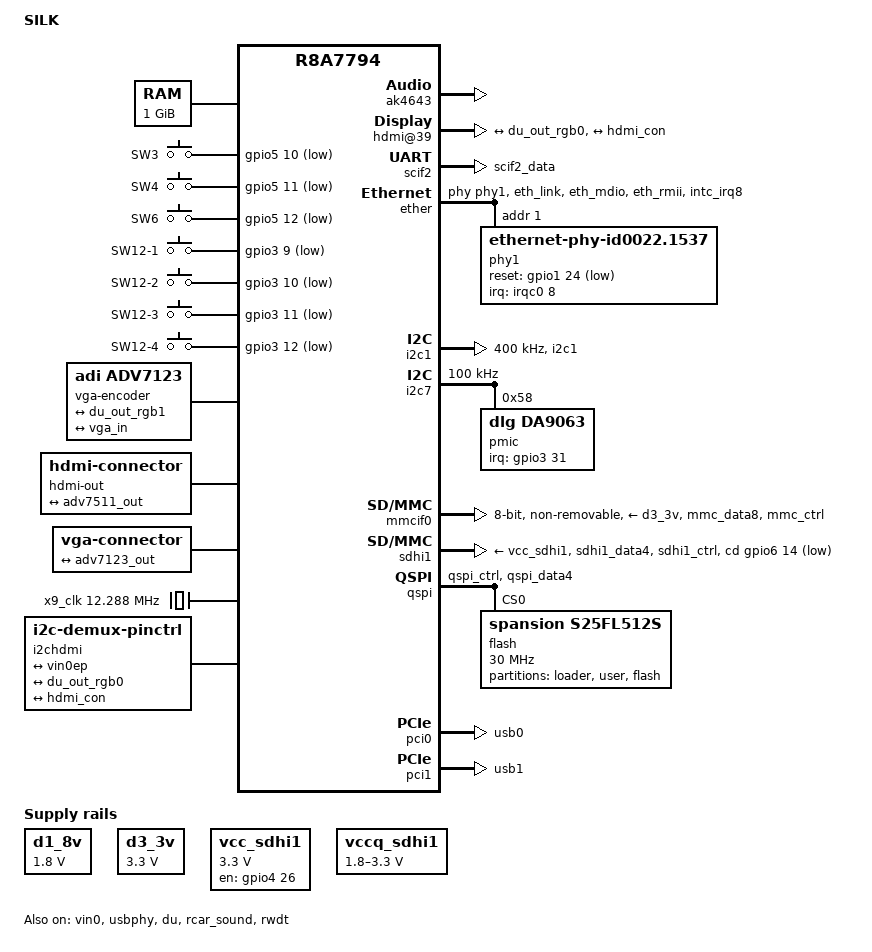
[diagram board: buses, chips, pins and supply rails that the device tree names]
// SPDX-License-Identifier: GPL-2.0
/*
 * Device Tree Source for the SILK board
 *
 * Copyright (C) 2014 Renesas Electronics Corporation
 * Copyright (C) 2014-2015 Renesas Solutions Corp.
 * Copyright (C) 2014-2015 Cogent Embedded, Inc.
 */

/*
 * SSI-AK4643
 *
 * SW1: 2-1: AK4643
 *      2-3: ADV7511
 *
 * This command is required before playback/capture:
 *
 *	amixer set "LINEOUT Mixer DACL" on
 */

/dts-v1/;
#include "r8a7794.dtsi"
#include <dt-bindings/gpio/gpio.h>
#include <dt-bindings/input/input.h>

/ {
	model = "SILK";
	compatible = "renesas,silk", "renesas,r8a7794";

	aliases {
		serial0 = &scif2;
		i2c9 = &gpioi2c1;
		i2c10 = &i2chdmi;
		mmc0 = &mmcif0;
		mmc1 = &sdhi1;
	};

	chosen {
		bootargs = "ignore_loglevel rw root=/dev/nfs ip=on";
		stdout-path = "serial0:115200n8";
	};

	memory@40000000 {
		device_type = "memory";
		reg = <0 0x40000000 0 0x40000000>;
	};

	keyboard {
		compatible = "gpio-keys";

		pinctrl-0 = <&keyboard_pins>;
		pinctrl-names = "default";

		key-3 {
			gpios = <&gpio5 10 GPIO_ACTIVE_LOW>;
			linux,code = <KEY_3>;
			label = "SW3";
			wakeup-source;
			debounce-interval = <20>;
		};
		key-4 {
			gpios = <&gpio5 11 GPIO_ACTIVE_LOW>;
			linux,code = <KEY_4>;
			label = "SW4";
			wakeup-source;
			debounce-interval = <20>;
		};
		key-6 {
			gpios = <&gpio5 12 GPIO_ACTIVE_LOW>;
			linux,code = <KEY_6>;
			label = "SW6";
			wakeup-source;
			debounce-interval = <20>;
		};
		key-a {
			gpios = <&gpio3 9 GPIO_ACTIVE_LOW>;
			linux,code = <KEY_A>;
			label = "SW12-1";
			wakeup-source;
			debounce-interval = <20>;
		};
		key-b {
			gpios = <&gpio3 10 GPIO_ACTIVE_LOW>;
			linux,code = <KEY_B>;
			label = "SW12-2";
			wakeup-source;
			debounce-interval = <20>;
		};
		key-c {
			gpios = <&gpio3 11 GPIO_ACTIVE_LOW>;
			linux,code = <KEY_C>;
			label = "SW12-3";
			wakeup-source;
			debounce-interval = <20>;
		};
		key-d {
			gpios = <&gpio3 12 GPIO_ACTIVE_LOW>;
			linux,code = <KEY_D>;
			label = "SW12-4";
			wakeup-source;
			debounce-interval = <20>;
		};
	};

	d1_8v: regulator-d1-8v {
		compatible = "regulator-fixed";
		regulator-name = "D1.8V";
		regulator-min-microvolt = <1800000>;
		regulator-max-microvolt = <1800000>;
		regulator-boot-on;
		regulator-always-on;
	};

	d3_3v: regulator-d3-3v {
		compatible = "regulator-fixed";
		regulator-name = "D3.3V";
		regulator-min-microvolt = <3300000>;
		regulator-max-microvolt = <3300000>;
		regulator-boot-on;
		regulator-always-on;
	};

	vcc_sdhi1: regulator-vcc-sdhi1 {
		compatible = "regulator-fixed";

		regulator-name = "SDHI1 Vcc";
		regulator-min-microvolt = <3300000>;
		regulator-max-microvolt = <3300000>;

		gpio = <&gpio4 26 GPIO_ACTIVE_HIGH>;
		enable-active-high;
	};

	vccq_sdhi1: regulator-vccq-sdhi1 {
		compatible = "regulator-gpio";

		regulator-name = "SDHI1 VccQ";
		regulator-min-microvolt = <1800000>;
		regulator-max-microvolt = <3300000>;

		gpios = <&gpio4 29 GPIO_ACTIVE_HIGH>;
		gpios-states = <1>;
		states = <3300000 1>, <1800000 0>;
	};

	vga-encoder {
		compatible = "adi,adv7123";

		ports {
			#address-cells = <1>;
			#size-cells = <0>;

			port@0 {
				reg = <0>;
				adv7123_in: endpoint {
					remote-endpoint = <&du_out_rgb1>;
				};
			};
			port@1 {
				reg = <1>;
				adv7123_out: endpoint {
					remote-endpoint = <&vga_in>;
				};
			};
		};
	};

	hdmi-out {
		compatible = "hdmi-connector";
		type = "a";

		port {
			hdmi_con: endpoint {
				remote-endpoint = <&adv7511_out>;
			};
		};
	};

	vga {
		compatible = "vga-connector";

		port {
			vga_in: endpoint {
				remote-endpoint = <&adv7123_out>;
			};
		};
	};

	x2_clk: x2-clock {
		compatible = "fixed-clock";
		#clock-cells = <0>;
		clock-frequency = <148500000>;
	};

	x3_clk: x3-clock {
		compatible = "fixed-clock";
		#clock-cells = <0>;
		clock-frequency = <74250000>;
	};

	x9_clk: audio_clock {
		compatible = "fixed-clock";
		#clock-cells = <0>;
		clock-frequency = <12288000>;
	};

	sound {
		compatible = "simple-audio-card";

		simple-audio-card,format = "left_j";
		simple-audio-card,bitclock-master = <&soundcodec>;
		simple-audio-card,frame-master = <&soundcodec>;

		simple-audio-card,cpu {
			sound-dai = <&rcar_sound>;
		};

		soundcodec: simple-audio-card,codec {
			sound-dai = <&ak4643>;
			clocks = <&x9_clk>;
		};
	};

	gpioi2c1: i2c-9 {
		#address-cells = <1>;
		#size-cells = <0>;
		compatible = "i2c-gpio";
		status = "disabled";
		scl-gpios = <&gpio4 0 (GPIO_ACTIVE_HIGH | GPIO_OPEN_DRAIN)>;
		sda-gpios = <&gpio4 1 (GPIO_ACTIVE_HIGH | GPIO_OPEN_DRAIN)>;
		i2c-gpio,delay-us = <5>;
	};

	/*
	 * A fallback to GPIO is provided for I2C1.
	 */
	i2chdmi: i2c-mux1 {
		compatible = "i2c-demux-pinctrl";
		i2c-parent = <&i2c1>, <&gpioi2c1>;
		i2c-bus-name = "i2c-hdmi";
		#address-cells = <1>;
		#size-cells = <0>;

		ak4643: codec@12 {
			compatible = "asahi-kasei,ak4643";
			#sound-dai-cells = <0>;
			reg = <0x12>;
		};

		composite-in@20 {
			compatible = "adi,adv7180";
			reg = <0x20>;

			port {
				adv7180: endpoint {
					bus-width = <8>;
					remote-endpoint = <&vin0ep>;
				};
			};
		};

		hdmi@39 {
			compatible = "adi,adv7511w";
			reg = <0x39>;
			interrupt-parent = <&gpio5>;
			interrupts = <23 IRQ_TYPE_LEVEL_LOW>;

			avdd-supply = <&d1_8v>;
			dvdd-supply = <&d1_8v>;
			pvdd-supply = <&d1_8v>;
			dvdd-3v-supply = <&d3_3v>;
			bgvdd-supply = <&d1_8v>;

			adi,input-depth = <8>;
			adi,input-colorspace = "rgb";
			adi,input-clock = "1x";

			ports {
				#address-cells = <1>;
				#size-cells = <0>;

				port@0 {
					reg = <0>;
					adv7511_in: endpoint {
						remote-endpoint = <&du_out_rgb0>;
					};
				};

				port@1 {
					reg = <1>;
					adv7511_out: endpoint {
						remote-endpoint = <&hdmi_con>;
					};
				};
			};
		};

		eeprom@50 {
			compatible = "renesas,r1ex24002", "atmel,24c02";
			reg = <0x50>;
			pagesize = <16>;
		};
	};
};

&extal_clk {
	clock-frequency = <20000000>;
};

&pfc {
	pinctrl-0 = <&scif_clk_pins>;
	pinctrl-names = "default";

	scif2_pins: scif2 {
		groups = "scif2_data";
		function = "scif2";
	};

	scif_clk_pins: scif_clk {
		groups = "scif_clk";
		function = "scif_clk";
	};

	ether_pins: ether {
		groups = "eth_link", "eth_mdio", "eth_rmii";
		function = "eth";
	};

	phy1_pins: phy1 {
		groups = "intc_irq8";
		function = "intc";
	};

	i2c1_pins: i2c1 {
		groups = "i2c1";
		function = "i2c1";
	};

	mmcif0_pins: mmcif0 {
		groups = "mmc_data8", "mmc_ctrl";
		function = "mmc";
	};

	sdhi1_pins: sd1 {
		groups = "sdhi1_data4", "sdhi1_ctrl";
		function = "sdhi1";
	};

	qspi_pins: qspi {
		groups = "qspi_ctrl", "qspi_data4";
		function = "qspi";
	};

	vin0_pins: vin0 {
		groups = "vin0_data8", "vin0_clk";
		function = "vin0";
	};

	usb0_pins: usb0 {
		groups = "usb0";
		function = "usb0";
	};

	usb1_pins: usb1 {
		groups = "usb1";
		function = "usb1";
	};

	du0_pins: du0 {
		groups = "du0_rgb888", "du0_sync", "du0_disp", "du0_clk0_out";
		function = "du0";
	};

	du1_pins: du1 {
		groups = "du1_rgb666", "du1_sync", "du1_disp", "du1_clk0_out";
		function = "du1";
	};

	keyboard_pins: keyboard {
		pins = "GP_3_9", "GP_3_10", "GP_3_11", "GP_3_12";
		bias-pull-up;
	};

	ssi_pins: sound {
		groups = "ssi0129_ctrl", "ssi0_data", "ssi1_data";
		function = "ssi";
	};

	audio_clk_pins: audio_clk {
		groups = "audio_clkc";
		function = "audio_clk";
	};
};

&scif2 {
	pinctrl-0 = <&scif2_pins>;
	pinctrl-names = "default";

	status = "okay";
};

&scif_clk {
	clock-frequency = <14745600>;
};

&ether {
	pinctrl-0 = <&ether_pins>, <&phy1_pins>;
	pinctrl-names = "default";

	phy-handle = <&phy1>;
	renesas,ether-link-active-low;
	status = "okay";

	phy1: ethernet-phy@1 {
		compatible = "ethernet-phy-id0022.1537",
			     "ethernet-phy-ieee802.3-c22";
		reg = <1>;
		interrupt-parent = <&irqc0>;
		interrupts = <8 IRQ_TYPE_LEVEL_LOW>;
		micrel,led-mode = <1>;
		reset-gpios = <&gpio1 24 GPIO_ACTIVE_LOW>;
	};
};

&i2c1 {
	pinctrl-0 = <&i2c1_pins>;
	pinctrl-names = "i2c-hdmi";

	clock-frequency = <400000>;
};

&i2c7 {
	status = "okay";
	clock-frequency = <100000>;

	pmic@58 {
		compatible = "dlg,da9063";
		reg = <0x58>;
		interrupt-parent = <&gpio3>;
		interrupts = <31 IRQ_TYPE_LEVEL_LOW>;
		interrupt-controller;

		onkey {
			compatible = "dlg,da9063-onkey";
		};

		rtc {
			compatible = "dlg,da9063-rtc";
		};

		watchdog {
			compatible = "dlg,da9063-watchdog";
		};
	};
};

&mmcif0 {
	pinctrl-0 = <&mmcif0_pins>;
	pinctrl-names = "default";

	vmmc-supply = <&d3_3v>;
	vqmmc-supply = <&d3_3v>;
	bus-width = <8>;
	non-removable;
	status = "okay";
};

&sdhi1 {
	pinctrl-0 = <&sdhi1_pins>;
	pinctrl-names = "default";

	vmmc-supply = <&vcc_sdhi1>;
	vqmmc-supply = <&vccq_sdhi1>;
	cd-gpios = <&gpio6 14 GPIO_ACTIVE_LOW>;
	status = "okay";
};

&qspi {
	pinctrl-0 = <&qspi_pins>;
	pinctrl-names = "default";

	status = "okay";

	flash@0 {
		compatible = "spansion,s25fl512s", "jedec,spi-nor";
		reg = <0>;
		spi-max-frequency = <30000000>;
		spi-tx-bus-width = <4>;
		spi-rx-bus-width = <4>;
		spi-cpol;
		spi-cpha;
		m25p,fast-read;

		partitions {
			compatible = "fixed-partitions";
			#address-cells = <1>;
			#size-cells = <1>;

			partition@0 {
				label = "loader";
				reg = <0x00000000 0x00040000>;
				read-only;
			};
			partition@40000 {
				label = "user";
				reg = <0x00040000 0x00400000>;
				read-only;
			};
			partition@440000 {
				label = "flash";
				reg = <0x00440000 0x03bc0000>;
			};
		};
	};
};

/* composite video input */
&vin0 {
	status = "okay";
	pinctrl-0 = <&vin0_pins>;
	pinctrl-names = "default";

	port {
		vin0ep: endpoint {
			remote-endpoint = <&adv7180>;
			bus-width = <8>;
		};
	};
};

&pci0 {
	status = "okay";
	pinctrl-0 = <&usb0_pins>;
	pinctrl-names = "default";
};

&pci1 {
	status = "okay";
	pinctrl-0 = <&usb1_pins>;
	pinctrl-names = "default";
};

&usbphy {
	status = "okay";
};

&du {
	pinctrl-0 = <&du0_pins>, <&du1_pins>;
	pinctrl-names = "default";
	status = "okay";

	clocks = <&cpg CPG_MOD 724>, <&cpg CPG_MOD 723>,
		 <&x2_clk>, <&x3_clk>;
	clock-names = "du.0", "du.1", "dclkin.0", "dclkin.1";

	ports {
		port@0 {
			endpoint {
				remote-endpoint = <&adv7511_in>;
			};
		};
		port@1 {
			endpoint {
				remote-endpoint = <&adv7123_in>;
			};
		};
	};
};

&rcar_sound {
	pinctrl-0 = <&ssi_pins>, <&audio_clk_pins>;
	pinctrl-names = "default";
	status = "okay";

	/* Single DAI */
	#sound-dai-cells = <0>;

	rcar_sound,dai {
		dai0 {
			playback = <&ssi0>;
			capture  = <&ssi1>;
		};
	};
};

&rwdt {
	timeout-sec = <60>;
	status = "okay";
};

&ssi1 {
	shared-pin;
};
